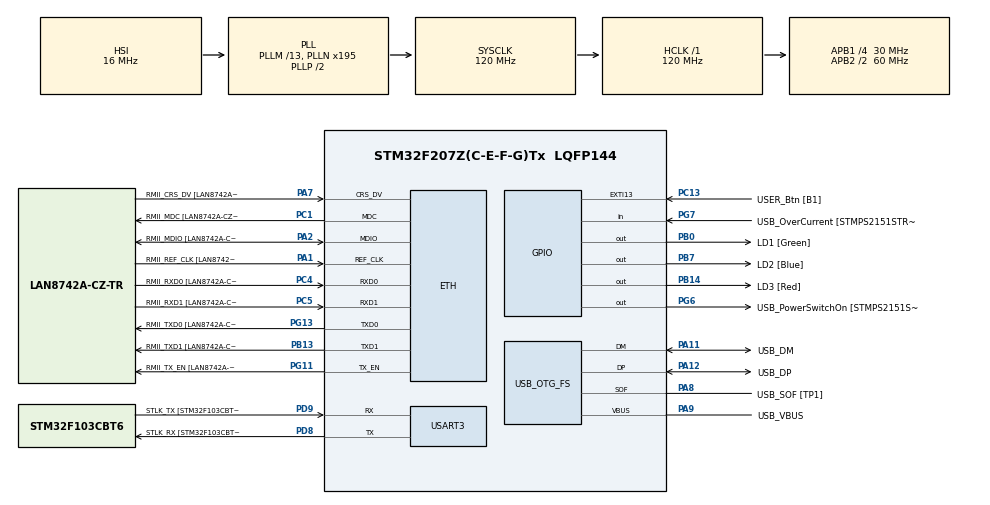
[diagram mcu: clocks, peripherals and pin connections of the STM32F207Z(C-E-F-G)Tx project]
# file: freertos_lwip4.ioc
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ETH.MediaInterface=ETH_MEDIA_INTERFACE_RMII
ETH.PHY_Name=LAN8742A_PHY_ADDRESS
ETH.PHY_Value=0
ETH.PhyAddress=0
FREERTOS.Tasks01=defaultTask,0,256,StartDefaultTask,Default,NULL,Dynamic,NULL,NULL
FREERTOS.configMINIMAL_STACK_SIZE=256
FREERTOS.configTOTAL_HEAP_SIZE=32768
FREERTOS.configUSE_NEWLIB_REENTRANT=1
LWIP.RTOS_USE_NEWLIB_REENTRANT=100
LWIP.Version=v2.0.3_Cube
Mcu.Family=STM32F2
Mcu.Name=STM32F207Z(C-E-F-G)Tx
Mcu.Package=LQFP144
NVIC.ETH_IRQn=true\:5\:0\:false\:false\:true\:true\:false\:true\:true
NVIC.PriorityGroup=NVIC_PRIORITYGROUP_4
NVIC.TIM6_DAC_IRQn=true\:15\:0\:false\:false\:true\:false\:false\:true\:true
NVIC.TimeBase=TIM6_DAC_IRQn
NVIC.TimeBaseIP=TIM6
PA1.GPIO_Label=RMII_REF_CLK [LAN8742A-CZ-TR_REFCLK0]
PA1.Mode=RMII
PA1.Signal=ETH_REF_CLK
PA10.GPIO_Label=USB_ID
PA10.Signal=USB_OTG_FS_ID
PA11.GPIO_Label=USB_DM
PA11.Mode=Device_Only
PA11.Signal=USB_OTG_FS_DM
PA12.GPIO_Label=USB_DP
PA12.Mode=Device_Only
PA12.Signal=USB_OTG_FS_DP
PA13.GPIO_Label=TMS
PA13.Mode=Serial_Wire
PA13.Signal=SYS_JTMS-SWDIO
PA14.GPIO_Label=TCK
PA14.Mode=Serial_Wire
PA14.Signal=SYS_JTCK-SWCLK
PA2.GPIO_Label=RMII_MDIO [LAN8742A-CZ-TR_MDIO]
PA2.Mode=RMII
PA2.Signal=ETH_MDIO
PA7.GPIO_Label=RMII_CRS_DV [LAN8742A-CZ-TR_CRS_DV]
PA7.Mode=RMII
PA7.Signal=ETH_CRS_DV
PA8.GPIO_Label=USB_SOF [TP1]
PA8.Mode=Activate_SOF_FS
PA8.Signal=USB_OTG_FS_SOF
PA9.GPIO_Label=USB_VBUS
PA9.Mode=Activate_VBUS
PA9.Signal=USB_OTG_FS_VBUS
PB0.GPIO_Label=LD1 [Green]
PB0.Signal=GPIO_Output
PB13.GPIO_Label=RMII_TXD1 [LAN8742A-CZ-TR_TXD1]
PB13.Mode=RMII
PB13.Signal=ETH_TXD1
PB14.GPIO_Label=LD3 [Red]
PB14.Signal=GPIO_Output
PB3.GPIO_Label=SWO
PB3.Signal=SYS_JTDO-SWO
PB7.GPIO_Label=LD2 [Blue]
PB7.Signal=GPIO_Output
PC1.GPIO_Label=RMII_MDC [LAN8742A-CZ-TR_MDC]
PC1.Mode=RMII
PC1.Signal=ETH_MDC
PC13.GPIO_Label=USER_Btn [B1]
PC13.Signal=GPXTI13
PC14-OSC32_IN.Mode=LSE-External-Oscillator
PC14-OSC32_IN.Signal=RCC_OSC32_IN
PC15-OSC32_OUT.Mode=LSE-External-Oscillator
PC15-OSC32_OUT.Signal=RCC_OSC32_OUT
PC4.GPIO_Label=RMII_RXD0 [LAN8742A-CZ-TR_RXD0]
PC4.Mode=RMII
PC4.Signal=ETH_RXD0
PC5.GPIO_Label=RMII_RXD1 [LAN8742A-CZ-TR_RXD1]
PC5.Mode=RMII
PC5.Signal=ETH_RXD1
PD8.GPIO_Label=STLK_RX [STM32F103CBT6_PA2]
PD8.Mode=Asynchronous
PD8.Signal=USART3_TX
PD9.GPIO_Label=STLK_TX [STM32F103CBT6_PA3]
PD9.Mode=Asynchronous
PD9.Signal=USART3_RX
PG11.GPIO_Label=RMII_TX_EN [LAN8742A-CZ-TR_TXEN]
PG11.Mode=RMII
PG11.Signal=ETH_TX_EN
PG13.GPIO_Label=RMII_TXD0 [LAN8742A-CZ-TR_TXD0]
PG13.Mode=RMII
PG13.Signal=ETH_TXD0
PG6.GPIO_Label=USB_PowerSwitchOn [STMPS2151STR_EN]
PG6.Signal=GPIO_Output
PG7.GPIO_Label=USB_OverCurrent [STMPS2151STR_FAULT]
PG7.Signal=GPIO_Input
PH0-OSC_IN.GPIO_Label=MCO [STM32F103CBT6_PA8]
PH0-OSC_IN.Mode=HSE-External-Clock-Source
PH0-OSC_IN.Signal=RCC_OSC_IN
PH1-OSC_OUT.Mode=HSE-External-Clock-Source
PH1-OSC_OUT.Signal=RCC_OSC_OUT
ProjectManager.HeapSize=0x200
ProjectManager.StackSize=0x400
ProjectManager.TargetToolchain=STM32CubeIDE
RCC.48MHZClocksFreq_Value=48000000
RCC.AHBFreq_Value=120000000
RCC.APB1CLKDivider=RCC_HCLK_DIV4
RCC.APB1Freq_Value=30000000
RCC.APB1TimFreq_Value=60000000
RCC.APB2CLKDivider=RCC_HCLK_DIV2
RCC.APB2Freq_Value=60000000
RCC.APB2TimFreq_Value=120000000
RCC.CortexFreq_Value=120000000
RCC.HCLKFreq_Value=120000000
RCC.HSE_VALUE=8000000
RCC.HSI_VALUE=16000000
RCC.PLLM=13
RCC.PLLMUL=RCC_PLL_MUL9
RCC.PLLN=195
RCC.PLLQ=5
RCC.PRESCALERUSB=RCC_USBCLKSOURCE_PLL_DIV1_5
RCC.SYSCLKFreq_VALUE=120000000
RCC.SYSCLKSource=RCC_SYSCLKSOURCE_PLLCLK
RCC.SYSCLKSourceVirtual=RCC_SYSCLKSOURCE_PLLCLK
RCC.USBFreq_Value=48000000
RCC.VCOOutputFreq_Value=240000000
USART3.VirtualMode=VM_ASYNC
USB_OTG_FS.VirtualMode=Device_Only
VP_FREERTOS_VS_CMSIS_V1.Mode=CMSIS_V1
VP_LWIP_VS_Enabled.Mode=Enabled
VP_SYS_VS_tim6.Mode=TIM6
board=NUCLEO-F207ZG

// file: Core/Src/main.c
/* USER CODE BEGIN Header */
/**
  ******************************************************************************
  * @file           : main.c
  * @brief          : Main program body
  ******************************************************************************
  * @attention
  *
  * Copyright (c) 2023 STMicroelectronics.
  * All rights reserved.
  *
  * This software is licensed under terms that can be found in the LICENSE file
  * in the root directory of this software component.
  * If no LICENSE file comes with this software, it is provided AS-IS.
  *
  ******************************************************************************
  */
/* USER CODE END Header */
#include "main.h"
#include "cmsis_os.h"
#include "lwip.h"

UART_HandleTypeDef huart3;

PCD_HandleTypeDef hpcd_USB_OTG_FS;

osThreadId defaultTaskHandle;
/* USER CODE BEGIN PV */
extern struct netif gnetif;
osThreadId tcpClientTaskHandle;  //tcp client task handle
/* USER CODE END PV */

void SystemClock_Config(void);
static void MX_GPIO_Init(void);
static void MX_USART3_UART_Init(void);
static void MX_USB_OTG_FS_PCD_Init(void);
void StartDefaultTask(void const * argument);

/* USER CODE BEGIN PFP */
void StartTcpClientTask(void const *argument);
/* USER CODE END PFP */

/* USER CODE BEGIN 0 */
int __io_putchar(int ch){
  HAL_UART_Transmit(&huart3, (uint8_t *)&ch, 1, 0xFFFF);
  return ch;
}

/* USER CODE END 0 */

int main(void)
{

  /* MCU Configuration--------------------------------------------------------*/

  /* Reset of all peripherals, Initializes the Flash interface and the Systick. */
  HAL_Init();

  /* Configure the system clock */
  SystemClock_Config();

  /* Initialize all configured peripherals */
  MX_GPIO_Init();
  MX_USART3_UART_Init();
  MX_USB_OTG_FS_PCD_Init();

  /* Create the thread(s) */
  /* definition and creation of defaultTask */
  osThreadDef(defaultTask, StartDefaultTask, osPriorityNormal, 0, 256);
  defaultTaskHandle = osThreadCreate(osThread(defaultTask), NULL);

  /* Start scheduler */
  osKernelStart();
  /* We should never get here as control is now taken by the scheduler */
  /* Infinite loop */
  while (1)
  {

  }
}

void SystemClock_Config(void)
{
  RCC_OscInitTypeDef RCC_OscInitStruct = {0};
  RCC_ClkInitTypeDef RCC_ClkInitStruct = {0};

  /** Initializes the RCC Oscillators according to the specified parameters
  * in the RCC_OscInitTypeDef structure.
  */
  RCC_OscInitStruct.OscillatorType = RCC_OSCILLATORTYPE_HSI;
  RCC_OscInitStruct.HSIState = RCC_HSI_ON;
  RCC_OscInitStruct.HSICalibrationValue = RCC_HSICALIBRATION_DEFAULT;
  RCC_OscInitStruct.PLL.PLLState = RCC_PLL_ON;
  RCC_OscInitStruct.PLL.PLLSource = RCC_PLLSOURCE_HSI;
  RCC_OscInitStruct.PLL.PLLM = 13;
  RCC_OscInitStruct.PLL.PLLN = 195;
  RCC_OscInitStruct.PLL.PLLP = RCC_PLLP_DIV2;
  RCC_OscInitStruct.PLL.PLLQ = 5;
  if (HAL_RCC_OscConfig(&RCC_OscInitStruct) != HAL_OK)
  {
    Error_Handler();
  }

  /** Initializes the CPU, AHB and APB buses clocks
  */
  RCC_ClkInitStruct.ClockType = RCC_CLOCKTYPE_HCLK|RCC_CLOCKTYPE_SYSCLK
                              |RCC_CLOCKTYPE_PCLK1|RCC_CLOCKTYPE_PCLK2;
  RCC_ClkInitStruct.SYSCLKSource = RCC_SYSCLKSOURCE_PLLCLK;
  RCC_ClkInitStruct.AHBCLKDivider = RCC_SYSCLK_DIV1;
  RCC_ClkInitStruct.APB1CLKDivider = RCC_HCLK_DIV4;
  RCC_ClkInitStruct.APB2CLKDivider = RCC_HCLK_DIV2;

  if (HAL_RCC_ClockConfig(&RCC_ClkInitStruct, FLASH_LATENCY_3) != HAL_OK)
  {
    Error_Handler();
  }
}

static void MX_USART3_UART_Init(void)
{

  huart3.Instance = USART3;
  huart3.Init.BaudRate = 115200;
  huart3.Init.WordLength = UART_WORDLENGTH_8B;
  huart3.Init.StopBits = UART_STOPBITS_1;
  huart3.Init.Parity = UART_PARITY_NONE;
  huart3.Init.Mode = UART_MODE_TX_RX;
  huart3.Init.HwFlowCtl = UART_HWCONTROL_NONE;
  huart3.Init.OverSampling = UART_OVERSAMPLING_16;
  if (HAL_UART_Init(&huart3) != HAL_OK)
  {
    Error_Handler();
  }

}

static void MX_USB_OTG_FS_PCD_Init(void)
{

  hpcd_USB_OTG_FS.Instance = USB_OTG_FS;
  hpcd_USB_OTG_FS.Init.dev_endpoints = 4;
  hpcd_USB_OTG_FS.Init.speed = PCD_SPEED_FULL;
  hpcd_USB_OTG_FS.Init.dma_enable = DISABLE;
  hpcd_USB_OTG_FS.Init.phy_itface = PCD_PHY_EMBEDDED;
  hpcd_USB_OTG_FS.Init.Sof_enable = ENABLE;
  hpcd_USB_OTG_FS.Init.low_power_enable = DISABLE;
  hpcd_USB_OTG_FS.Init.vbus_sensing_enable = ENABLE;
  hpcd_USB_OTG_FS.Init.use_dedicated_ep1 = DISABLE;
  if (HAL_PCD_Init(&hpcd_USB_OTG_FS) != HAL_OK)
  {
    Error_Handler();
  }

}

static void MX_GPIO_Init(void)
{
  GPIO_InitTypeDef GPIO_InitStruct = {0};

  /* GPIO Ports Clock Enable */
  __HAL_RCC_GPIOC_CLK_ENABLE();
  __HAL_RCC_GPIOH_CLK_ENABLE();
  __HAL_RCC_GPIOA_CLK_ENABLE();
  __HAL_RCC_GPIOB_CLK_ENABLE();
  __HAL_RCC_GPIOD_CLK_ENABLE();
  __HAL_RCC_GPIOG_CLK_ENABLE();

  /*Configure GPIO pin Output Level */
  HAL_GPIO_WritePin(GPIOB, LD1_Pin|LD3_Pin|LD2_Pin, GPIO_PIN_RESET);

  /*Configure GPIO pin Output Level */
  HAL_GPIO_WritePin(USB_PowerSwitchOn_GPIO_Port, USB_PowerSwitchOn_Pin, GPIO_PIN_RESET);

  /*Configure GPIO pin : USER_Btn_Pin */
  GPIO_InitStruct.Pin = USER_Btn_Pin;
  GPIO_InitStruct.Mode = GPIO_MODE_IT_RISING;
  GPIO_InitStruct.Pull = GPIO_NOPULL;
  HAL_GPIO_Init(USER_Btn_GPIO_Port, &GPIO_InitStruct);

  /*Configure GPIO pins : LD1_Pin LD3_Pin LD2_Pin */
  GPIO_InitStruct.Pin = LD1_Pin|LD3_Pin|LD2_Pin;
  GPIO_InitStruct.Mode = GPIO_MODE_OUTPUT_PP;
  GPIO_InitStruct.Pull = GPIO_NOPULL;
  GPIO_InitStruct.Speed = GPIO_SPEED_FREQ_LOW;
  HAL_GPIO_Init(GPIOB, &GPIO_InitStruct);

  /*Configure GPIO pin : USB_PowerSwitchOn_Pin */
  GPIO_InitStruct.Pin = USB_PowerSwitchOn_Pin;
  GPIO_InitStruct.Mode = GPIO_MODE_OUTPUT_PP;
  GPIO_InitStruct.Pull = GPIO_NOPULL;
  GPIO_InitStruct.Speed = GPIO_SPEED_FREQ_LOW;
  HAL_GPIO_Init(USB_PowerSwitchOn_GPIO_Port, &GPIO_InitStruct);

  /*Configure GPIO pin : USB_OverCurrent_Pin */
  GPIO_InitStruct.Pin = USB_OverCurrent_Pin;
  GPIO_InitStruct.Mode = GPIO_MODE_INPUT;
  GPIO_InitStruct.Pull = GPIO_NOPULL;
  HAL_GPIO_Init(USB_OverCurrent_GPIO_Port, &GPIO_InitStruct);

}

void StartDefaultTask(void const * argument)
{
  /* init code for LWIP */
  MX_LWIP_Init();
  /* USER CODE BEGIN 5 */
  osThreadDef(tcpClientTask, StartTcpClientTask, osPriorityNormal, 0, configMINIMAL_STACK_SIZE);
  tcpClientTaskHandle = osThreadCreate(osThread(tcpClientTask), NULL); //run tcp client task
  /* Infinite loop */
  for(;;)
  {
	HAL_GPIO_TogglePin(LD1_GPIO_Port, LD1_Pin);
	printf(">>> Server IP address = %s \r\n", ip4addr_ntoa(netif_ip4_addr(&gnetif)));
    osDelay(500);
  }
  /* USER CODE END 5 */
}

void HAL_TIM_PeriodElapsedCallback(TIM_HandleTypeDef *htim)
{
  if (htim->Instance == TIM6) {
    HAL_IncTick();
  }
}

void Error_Handler(void)
{
  __disable_irq();
  while (1)
  {
  }
}

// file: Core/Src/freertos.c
/* USER CODE BEGIN Header */
/**
  ******************************************************************************
  * File Name          : freertos.c
  * Description        : Code for freertos applications
  ******************************************************************************
  * @attention
  *
  * Copyright (c) 2023 STMicroelectronics.
  * All rights reserved.
  *
  * This software is licensed under terms that can be found in the LICENSE file
  * in the root directory of this software component.
  * If no LICENSE file comes with this software, it is provided AS-IS.
  *
  ******************************************************************************
  */
/* USER CODE END Header */

#include "FreeRTOS.h"
#include "task.h"
#include "main.h"

/* USER CODE BEGIN Includes */
#include <string.h>
#include "lwip.h"
#include "lwip/api.h"
/* USER CODE END Includes */

/* USER CODE BEGIN PTD */
typedef enum
{
  REQ = 0,
  RESP = 1
} packet_type;

struct time_packet
{
  uint8_t head; //0xAE
  uint8_t type; //0:REQ, 1:RESP
  uint8_t year;
  uint8_t month;
  uint8_t day;
  uint8_t hour;
  uint8_t minute;
  uint8_t second;
  uint8_t dummy[247]; //you may add more information
  uint8_t tail; //0xEA
};
//256 bytes
/* USER CODE END PTD */

/* USER CODE BEGIN PD */
/* USER CODE BEGIN PD */
#define SERVER_IP1  192 //server ip address
#define SERVER_IP2  168
#define SERVER_IP3  15
#define SERVER_IP4  13
#define SERVER_PORT	5000 //server listen port
/* USER CODE END PD */

/* USER CODE BEGIN Variables */
extern struct netif gnetif; //extern gnetif
ip_addr_t server_addr; //server address
struct time_packet packet; //256 bytes time_packet structure
/* USER CODE END Variables */

/* GetIdleTaskMemory prototype (linked to static allocation support) */
void vApplicationGetIdleTaskMemory( StaticTask_t **ppxIdleTaskTCBBuffer, StackType_t **ppxIdleTaskStackBuffer, uint32_t *pulIdleTaskStackSize );

/* USER CODE BEGIN GET_IDLE_TASK_MEMORY */
static StaticTask_t xIdleTaskTCBBuffer;
static StackType_t xIdleStack[configMINIMAL_STACK_SIZE];

void vApplicationGetIdleTaskMemory( StaticTask_t **ppxIdleTaskTCBBuffer, StackType_t **ppxIdleTaskStackBuffer, uint32_t *pulIdleTaskStackSize )
{
  *ppxIdleTaskTCBBuffer = &xIdleTaskTCBBuffer;
  *ppxIdleTaskStackBuffer = &xIdleStack[0];
  *pulIdleTaskStackSize = configMINIMAL_STACK_SIZE;
  /* place for user code */
}
/* USER CODE END GET_IDLE_TASK_MEMORY */

/* Hook prototypes */
void vApplicationStackOverflowHook(xTaskHandle xTask, signed char *pcTaskName);

void vApplicationStackOverflowHook(xTaskHandle xTask, signed char *pcTaskName)
{
  /* Run time stack overflow checking is performed if
   configCHECK_FOR_STACK_OVERFLOW is defined to 1 or 2. This hook function is
   called if a stack overflow is detected. */

  HAL_GPIO_WritePin(LD3_GPIO_Port, LD3_Pin, GPIO_PIN_SET); //turn on red led when detects stack overflow
}

/* USER CODE BEGIN Application */
void StartTcpClientTask(void const *argument)
{
  err_t err;
  struct netconn *conn;
  struct netbuf *buf;
  void *data;

  u16_t len; //buffer length
  u16_t nRead; //read buffer index
  u16_t nWritten; //write buffer index

  LWIP_UNUSED_ARG(argument);

  while (1)
  {
    if (gnetif.ip_addr.addr == 0 || gnetif.netmask.addr == 0 || gnetif.gw.addr == 0) //system has no valid ip address
    {
      osDelay(1000);
      continue;
    }
    else //valid ip address
    {
      osDelay(100); //request interval
    }

    nRead = 0; //clear indexes
    nWritten = 0;

    conn = netconn_new(NETCONN_TCP); //new tcp netconn

    if (conn != NULL)
    {
      IP4_ADDR(&server_addr, SERVER_IP1, SERVER_IP2, SERVER_IP3, SERVER_IP4); //server ip
      err = netconn_connect(conn, &server_addr, SERVER_PORT); //connect to the server

      if (err != ERR_OK)
      {
        netconn_delete(conn); //free memory
        continue;
      }

      memset(&packet, 0, sizeof(struct time_packet));
      packet.head = 0xAE; //head
      packet.type = REQ; //request type
      packet.tail = 0xEA; //tail

      do {
        if (netconn_write_partly(
            conn, //connection
            (const void*) (&packet + nWritten), //buffer pointer
            (sizeof(struct time_packet) - nWritten), //buffer length
            NETCONN_NOFLAG, //no copy
            (size_t*) &len) != ERR_OK) //written len
        {
          netconn_close(conn); //close session
          netconn_delete(conn); //free memory
          continue;
        }
        else {
          nWritten += len;
        }
      } while (nWritten < sizeof(struct time_packet)); //send request

//      while (netconn_recv(conn, &buf) == ERR_OK) //receive the response
//      {
//        do {
//          netbuf_data(buf, &data, &len); //receive data pointer & length
//          memcpy(&packet + nRead, data, len);
//          nRead += len;
//          printf("len = %d\r\n", len);
//          printf("0x%02x\r\n", packet.tail);
//        } while (netbuf_next(buf) >= 0); //check buffer empty
//
//        netbuf_delete(buf); //clear buffer
//      }

      if (netconn_recv(conn, &buf) == ERR_OK) {
    	  netbuf_data(buf, &data, &len); //receive data pointer & length
//    	  printf("len = %d\r\n", len);
    	  memcpy(&packet + nRead, data, len);
    	  netbuf_delete(buf); //clear buffer
      }

      //if (len == sizeof(struct time_packet) && packet.type == RESP) //if received length is valid
      //{
        printf("%04d-%02d-%02d %02d:%02d:%02d\r\n", packet.year + 2000, packet.month, packet.day, packet.hour, packet.minute, packet.second); //print time information
        HAL_GPIO_TogglePin(LD2_GPIO_Port, LD2_Pin); //toggle data led
      //}

      netconn_close(conn); //close session
      netconn_delete(conn); //free memory
    }
  }
}
/* USER CODE END Application */
